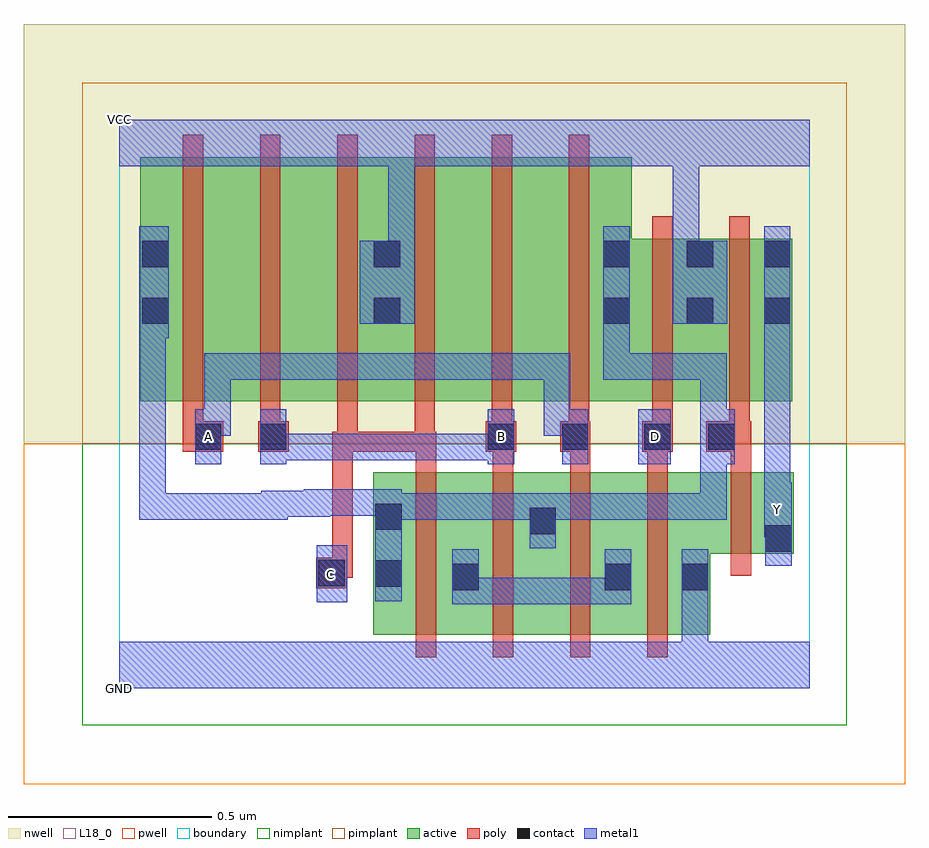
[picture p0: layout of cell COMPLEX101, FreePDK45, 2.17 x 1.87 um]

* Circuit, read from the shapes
.subckt COMPLEX101 A B C D GND VCC Y
M1 n1 C n2 VSUBS nfet w=0.4u l=0.05u
M2 n2 B n1 VSUBS nfet w=0.4u l=0.05u
M3 n1 A n2 VSUBS nfet w=0.4u l=0.05u
M4 GND D n1 VSUBS nfet w=0.4u l=0.05u
M5 Y n2 GND VSUBS nfet w=0.2u l=0.05u
M6 n3 A n2 n4 pfet w=0.6u l=0.05u
M7 n5 B n3 n4 pfet w=0.6u l=0.05u
M8 VCC C n5 n4 pfet w=0.6u l=0.05u
M9 n6 C VCC n4 pfet w=0.6u l=0.05u
M10 n7 B n6 n4 pfet w=0.6u l=0.05u
M11 n2 A n7 n4 pfet w=0.6u l=0.05u
M12 VCC D n2 n4 pfet w=0.4u l=0.05u
M13 Y n2 VCC n4 pfet w=0.4u l=0.05u
.ends

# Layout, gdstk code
import gdstk
lib = gdstk.Library(unit=1e-6, precision=1e-09)
def R(c, l, rs):  # rectangles x0, y0, x1, y1
    for r in rs: c.add(gdstk.rectangle(r[:2], r[2:], *l))
def A(c, l, x, y, w, h, nx, ny, dx, dy):  # array of equal rectangles
    R(c, l, [(x+i*dx, y+j*dy, x+i*dx+w, y+j*dy+h) for i in range(nx) for j in range(ny)])
active = (1, 0)
pwell = (2, 0)
nwell = (3, 0)
nimplant = (4, 0)
pimplant = (5, 0)
poly = (9, 0)
contact = (10, 0)
metal1 = (11, 0)
L18_0 = (18, 0)
boundary = (235, 0)

complex101 = lib.new_cell('COMPLEX101')
R(complex101, active, [(0.625,0.132,0.89,0.532), (0.815,0.132,1.08,0.532), (1.005,0.132,1.265,0.532), (1.19,0.132,1.455,0.532), (1.38,0.132,1.455,0.532), (0.625,0.147,0.7,0.532), (0.815,0.147,0.89,0.492), (1.005,0.147,1.08,0.492), (1.19,0.147,1.265,0.492), (1.38,0.332,1.66,0.532), (1.585,0.332,1.66,0.532), (0.052,0.707,0.277,1.307), (0.052,0.707,0.157,1.2), (0.277,0.707,0.467,1.307), (0.467,0.707,0.697,1.307), (0.622,0.707,0.847,1.307), (0.622,0.707,0.697,1.257), (0.847,0.707,1.037,1.307), (1.037,0.707,1.262,1.307), (1.187,0.707,1.467,1.107), (1.187,0.707,1.262,1.2), (1.392,0.707,1.657,1.107), (1.582,0.707,1.657,1.107), (1.392,0.802,1.467,1.107)])
R(complex101, pwell, [(-0.235,-0.235,1.935,0.602)])
R(complex101, nwell, [(-0.235,0.602,1.935,1.635)])
R(complex101, nimplant, [(-0.09,-0.09,1.79,0.602)])
R(complex101, pimplant, [(-0.09,0.602,1.79,1.49)])
A(complex101, poly, 0.73, 0.077, 0.05, 0.51, 4, 1, 0.19, 0)
A(complex101, poly, 0.73, 0.537, 0.05, 0.095, 4, 1, 0.19, 0)
A(complex101, poly, 0.157, 0.652, 0.05, 0.71, 6, 1, 0.19, 0)
R(complex101, poly, [(0.485,0.247,0.56,0.322), (0.51,0.272,0.56,0.322), (0.51,0.272,0.575,0.322), (0.525,0.272,0.575,0.632), (1.505,0.277,1.555,0.587), (1.505,0.537,1.555,0.632), (0.157,0.582,0.257,0.657), (0.342,0.582,0.417,0.657), (0.525,0.582,0.587,0.632), (0.537,0.582,0.587,0.702), (0.537,0.582,0.777,0.632), (0.537,0.582,0.587,0.632), (0.537,0.582,0.587,0.632), (0.727,0.582,0.777,0.702), (0.727,0.582,0.78,0.632), (0.902,0.582,0.977,0.657), (1.085,0.582,1.16,0.657), (1.287,0.582,1.362,0.657), (1.445,0.582,1.555,0.657), (0.157,0.607,0.207,0.702), (0.347,0.607,0.397,0.702), (0.917,0.607,0.967,0.702), (1.107,0.607,1.157,0.702), (1.312,0.607,1.362,0.702), (1.502,0.607,1.552,0.702), (1.312,0.652,1.362,1.162), (1.502,0.652,1.552,1.162)])
R(complex101, contact, [(0.82,0.242,0.885,0.307), (1.195,0.242,1.26,0.307), (1.385,0.242,1.45,0.307), (0.63,0.25,0.695,0.315), (0.49,0.252,0.555,0.317), (1.59,0.337,1.655,0.402), (1.01,0.38,1.075,0.445), (0.63,0.39,0.695,0.455), (0.187,0.587,0.252,0.652), (0.347,0.587,0.412,0.652), (0.907,0.587,0.972,0.652), (1.09,0.587,1.155,0.652), (1.292,0.587,1.357,0.652), (1.45,0.587,1.515,0.652), (0.057,0.897,0.122,0.962), (0.627,0.897,0.692,0.962), (1.192,0.897,1.257,0.962), (1.397,0.897,1.462,0.962), (1.587,0.897,1.652,0.962), (0.057,1.037,0.122,1.102), (0.627,1.037,0.692,1.102), (1.192,1.037,1.257,1.102), (1.397,1.037,1.462,1.102), (1.587,1.037,1.652,1.102)])
R(complex101, metal1, [(0,0,1.7,0.115), (1.385,0.05,1.45,0.272), (0.82,0.207,0.885,0.272), (0.82,0.207,0.885,0.272), (0.82,0.207,0.885,0.342), (0.82,0.207,1.12,0.272), (1.055,0.207,1.12,0.272), (1.055,0.207,1.12,0.272), (1.055,0.207,1.12,0.272), (1.055,0.207,1.26,0.272), (1.195,0.207,1.26,0.342), (1.385,0.207,1.45,0.342), (0.487,0.212,0.562,0.352), (0.63,0.215,0.695,0.49), (1.59,0.302,1.655,0.437), (1.01,0.345,1.075,0.48), (1.587,0.372,1.655,0.507), (1.59,0.372,1.655,0.437), (0.05,0.415,0.115,0.48), (0.05,0.415,0.115,0.48), (0.05,0.415,0.115,0.48), (0.05,0.415,0.252,0.48), (0.05,0.415,0.115,0.927), (0.187,0.415,0.252,0.48), (0.187,0.415,0.415,0.48), (0.35,0.415,0.415,0.487), (0.63,0.415,0.695,0.48), (0.63,0.415,0.695,0.48), (0.63,0.415,0.937,0.48), (0.872,0.415,0.937,0.48), (0.872,0.415,0.937,0.48), (0.872,0.415,0.937,0.48), (0.872,0.415,1.075,0.48), (1.01,0.415,1.12,0.48), (1.055,0.415,1.12,0.48), (1.055,0.415,1.29,0.48), (1.225,0.415,1.29,0.48), (1.225,0.415,1.29,0.48), (1.225,0.415,1.29,0.48), (1.225,0.415,1.495,0.48), (1.43,0.415,1.495,0.48), (1.43,0.415,1.495,0.687), (0.35,0.422,0.52,0.487), (0.455,0.422,0.52,0.49), (0.455,0.425,0.557,0.49), (0.492,0.425,0.557,0.49), (0.492,0.425,0.695,0.49), (1.587,0.442,1.652,0.927), (0.187,0.552,0.252,0.687), (0.347,0.552,0.412,0.687), (0.907,0.552,0.972,0.687), (1.09,0.552,1.155,0.687), (1.277,0.552,1.357,0.687), (1.45,0.552,1.515,0.687), (0.347,0.562,0.412,0.627), (0.347,0.562,0.412,0.627), (0.347,0.562,0.557,0.627), (0.492,0.562,0.557,0.627), (0.492,0.562,0.695,0.627), (0.63,0.562,0.695,0.627), (0.63,0.562,0.695,0.627), (0.63,0.562,0.695,0.627), (0.63,0.562,0.937,0.627), (0.872,0.562,0.937,0.627), (0.872,0.562,0.972,0.627), (0.187,0.622,0.275,0.687), (0.21,0.622,0.275,0.687), (0.21,0.622,0.275,0.825), (1.045,0.622,1.11,0.687), (1.045,0.622,1.11,0.825), (1.045,0.622,1.155,0.687), (1.43,0.622,1.495,0.687), (1.43,0.622,1.515,0.687), (1.43,0.622,1.495,0.825), (0.21,0.76,0.275,0.825), (0.21,0.76,0.415,0.825), (0.35,0.76,0.415,0.825), (0.35,0.76,0.415,0.825), (0.35,0.76,0.415,0.825), (0.35,0.76,0.557,0.825), (0.492,0.76,0.557,0.825), (0.492,0.76,0.747,0.825), (0.682,0.76,0.747,0.825), (0.682,0.76,0.747,0.825), (0.682,0.76,0.747,0.825), (0.682,0.76,0.937,0.825), (0.872,0.76,0.937,0.825), (0.872,0.76,0.937,0.825), (0.872,0.76,0.937,0.825), (0.872,0.76,1.11,0.825), (1.045,0.76,1.11,0.825), (1.192,0.76,1.495,0.825), (1.192,0.76,1.257,0.927), (1.43,0.76,1.495,0.825), (0.05,0.862,0.115,0.927), (0.05,0.862,0.115,0.927), (0.05,0.862,0.122,1.137), (1.192,0.862,1.257,1.137), (1.192,0.862,1.257,0.927), (1.587,0.862,1.652,1.137), (0.592,0.897,0.727,1.102), (1.362,0.897,1.497,1.102), (0.662,1.037,0.727,1.35), (1.362,1.037,1.427,1.35), (0,1.285,1.7,1.4), (1.362,1.285,1.427,1.35), (1.362,1.285,1.427,1.35)])
R(complex101, L18_0, [(0,0,1.7,0.115), (1.385,0.05,1.45,0.272), (1.385,0.207,1.45,0.342), (0.487,0.212,0.562,0.352), (0.487,0.247,0.552,0.312), (1.59,0.302,1.655,0.437), (1.587,0.372,1.655,0.507), (1.59,0.372,1.655,0.437), (1.587,0.407,1.652,0.472), (1.587,0.442,1.652,0.927), (0.187,0.552,0.252,0.687), (0.347,0.552,0.412,0.687), (0.907,0.552,0.972,0.687), (1.09,0.552,1.155,0.687), (1.277,0.552,1.357,0.687), (0.347,0.562,0.412,0.627), (0.347,0.562,0.412,0.627), (0.347,0.562,0.557,0.627), (0.492,0.562,0.557,0.627), (0.492,0.562,0.695,0.627), (0.63,0.562,0.695,0.627), (0.63,0.562,0.695,0.627), (0.63,0.562,0.695,0.627), (0.63,0.562,0.937,0.627), (0.872,0.562,0.937,0.627), (0.872,0.562,0.972,0.627), (0.187,0.587,0.252,0.652), (0.907,0.587,0.972,0.652), (1.287,0.587,1.352,0.652), (0.187,0.622,0.275,0.687), (0.21,0.622,0.275,0.687), (0.21,0.622,0.275,0.825), (1.045,0.622,1.11,0.687), (1.045,0.622,1.11,0.825), (1.045,0.622,1.155,0.687), (0.21,0.76,0.275,0.825), (0.21,0.76,0.415,0.825), (0.35,0.76,0.415,0.825), (0.35,0.76,0.415,0.825), (0.35,0.76,0.415,0.825), (0.35,0.76,0.557,0.825), (0.492,0.76,0.557,0.825), (0.492,0.76,0.747,0.825), (0.682,0.76,0.747,0.825), (0.682,0.76,0.747,0.825), (0.682,0.76,0.747,0.825), (0.682,0.76,0.937,0.825), (0.872,0.76,0.937,0.825), (0.872,0.76,0.937,0.825), (0.872,0.76,0.937,0.825), (0.872,0.76,1.11,0.825), (1.045,0.76,1.11,0.825), (1.587,0.862,1.652,1.137), (0.592,0.897,0.727,1.102), (1.362,0.897,1.497,1.102), (0.662,1.037,0.727,1.35), (1.362,1.037,1.427,1.35), (0,1.285,1.7,1.4), (1.362,1.285,1.427,1.35), (1.362,1.285,1.427,1.35)])
R(complex101, boundary, [(0,0,1.7,1.4)])
complex101.add(gdstk.Label('A', (0.22,0.62), layer=11, texttype=0))
complex101.add(gdstk.Label('B', (0.94,0.62), layer=11, texttype=0))
complex101.add(gdstk.Label('C', (0.52,0.28), layer=11, texttype=0))
complex101.add(gdstk.Label('D', (1.32,0.62), layer=11, texttype=0))
complex101.add(gdstk.Label('Y', (1.62,0.44), layer=11, texttype=0))
complex101.add(gdstk.Label('VCC', (0,1.4), layer=11, texttype=0))
complex101.add(gdstk.Label('GND', (0,0), layer=11, texttype=0))

lib.write_gds('COMPLEX101.gds')
